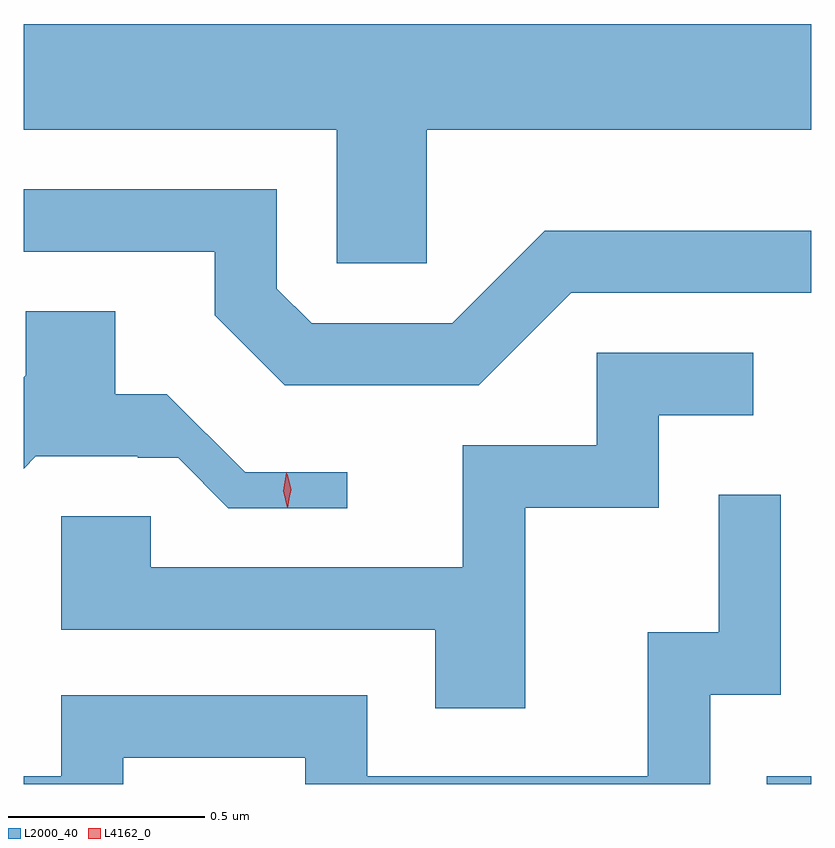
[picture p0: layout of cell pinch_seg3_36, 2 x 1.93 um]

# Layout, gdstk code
import gdstk
lib = gdstk.Library(unit=1e-6, precision=1e-09)
def R(c, l, rs):  # rectangles x0, y0, x1, y1
    for r in rs: c.add(gdstk.rectangle(r[:2], r[2:], *l))
def P(c, l, *ps):  # polygons
    for p in ps: c.add(gdstk.Polygon(p, *l))
L2000_40 = (2000, 40)
L4162_0 = (4162, 0)

pinch_seg3_36 = lib.new_cell('pinch_seg3_36')
R(pinch_seg3_36, L2000_40, [(1748.753,1122.134,1748.866,1122.154)])
P(pinch_seg3_36, L2000_40, [(1747.889,1123.796),(1748.866,1123.796),(1748.866,1124.064),(1746.866,1124.064),(1746.866,1123.796),(1747.661,1123.796),(1747.661,1123.456),(1747.889,1123.456)],
  [(1748.257,1123.381),(1748.866,1123.381),(1748.866,1123.539),(1748.189,1123.539),(1747.954,1123.304),(1747.597,1123.304),(1747.509,1123.392),(1747.509,1123.644),(1746.866,1123.644),(1746.866,1123.486),(1747.351,1123.486),(1747.351,1123.324),(1747.529,1123.146),(1748.022,1123.146)],
  [(1747.688,1122.926),(1747.428,1122.926),(1747.229,1123.124),(1747.099,1123.124),(1747.099,1123.334),(1746.871,1123.334),(1746.871,1123.172),(1746.866,1123.167),(1746.866,1122.935),(1746.897,1122.966),(1747.155,1122.966),(1747.155,1122.962),(1747.258,1122.962),(1747.386,1122.834),(1747.688,1122.834)],
  [(1748.139,1122.836),(1748.479,1122.836),(1748.479,1123.071),(1748.718,1123.071),(1748.718,1123.229),(1748.321,1123.229),(1748.321,1122.994),(1747.981,1122.994),(1747.981,1122.684),(1747.189,1122.684),(1747.189,1122.814),(1746.961,1122.814),(1746.961,1122.526),(1747.911,1122.526),(1747.911,1122.326),(1748.139,1122.326)],
  [(1747.119,1122.201),(1747.581,1122.201),(1747.581,1122.134),(1748.609,1122.134),(1748.609,1122.361),(1748.789,1122.361),(1748.789,1122.868),(1748.631,1122.868),(1748.631,1122.519),(1748.451,1122.519),(1748.451,1122.154),(1747.739,1122.154),(1747.739,1122.359),(1746.961,1122.359),(1746.961,1122.154),(1746.866,1122.154),(1746.866,1122.134),(1747.119,1122.134)])
P(pinch_seg3_36, L4162_0, [(1747.535,1122.834),(1747.535,1122.835),(1747.525,1122.879),(1747.533,1122.924),(1747.534,1122.925),(1747.534,1122.924),(1747.544,1122.88),(1747.536,1122.835)],
  [(1747.536,1122.844),(1747.536,1122.844),(1747.526,1122.881),(1747.536,1122.918),(1747.536,1122.919),(1747.537,1122.918),(1747.546,1122.881),(1747.537,1122.844)])

lib.write_gds('pinch_seg3_36.gds')
